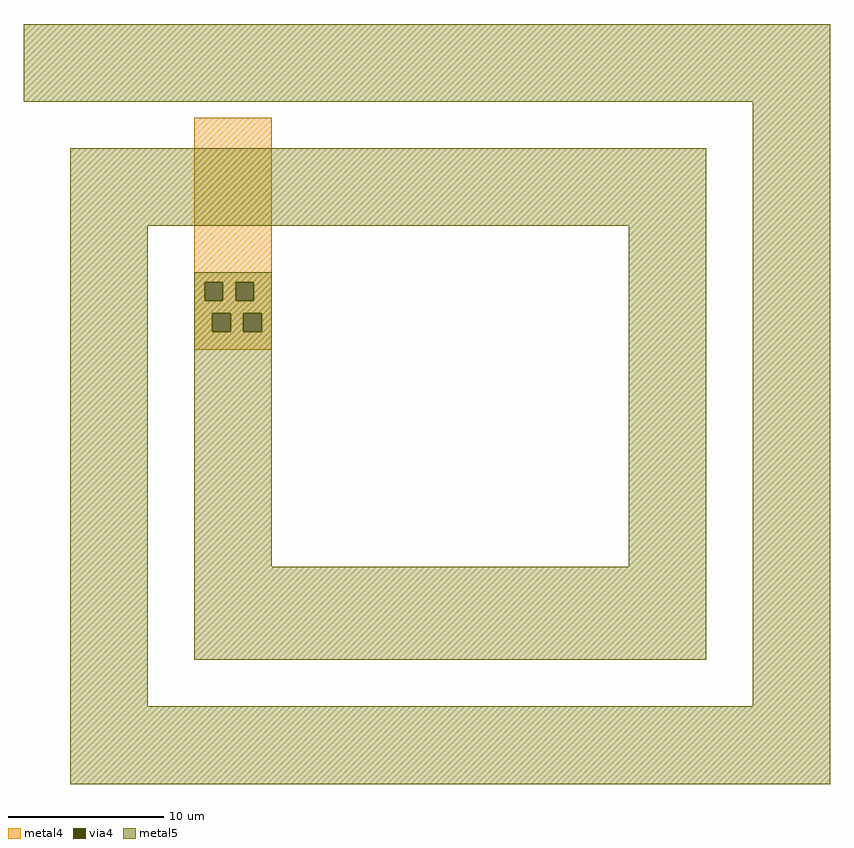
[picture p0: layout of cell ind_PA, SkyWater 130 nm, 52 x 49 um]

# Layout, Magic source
magic
tech sky130A
<< metal4 >>
rect 1700 -2766 2200 -1703
rect 1700 -2884 1766 -2766
rect 1884 -2884 1966 -2766
rect 2084 -2884 2200 -2766
rect 1700 -2966 2200 -2884
rect 1700 -3084 1816 -2966
rect 1934 -3084 2016 -2966
rect 2134 -3084 2200 -2966
rect 1700 -3200 2200 -3084
<< via4 >>
rect 1766 -2884 1884 -2766
rect 1966 -2884 2084 -2766
rect 1816 -3084 1934 -2966
rect 2016 -3084 2134 -2966
<< metal5 >>
rect 600 -1600 5800 -1100
rect 900 -2400 5000 -1900
rect 900 -5500 1400 -2400
rect 1700 -2766 2200 -2700
rect 1700 -2884 1766 -2766
rect 1884 -2884 1966 -2766
rect 2084 -2884 2200 -2766
rect 1700 -2966 2200 -2884
rect 1700 -3084 1816 -2966
rect 1934 -3084 2016 -2966
rect 2134 -3084 2200 -2966
rect 1700 -4600 2200 -3084
rect 4500 -4600 5000 -2400
rect 1700 -5200 5000 -4600
rect 5300 -5500 5800 -1600
rect 900 -6000 5800 -5500
<< end >>
